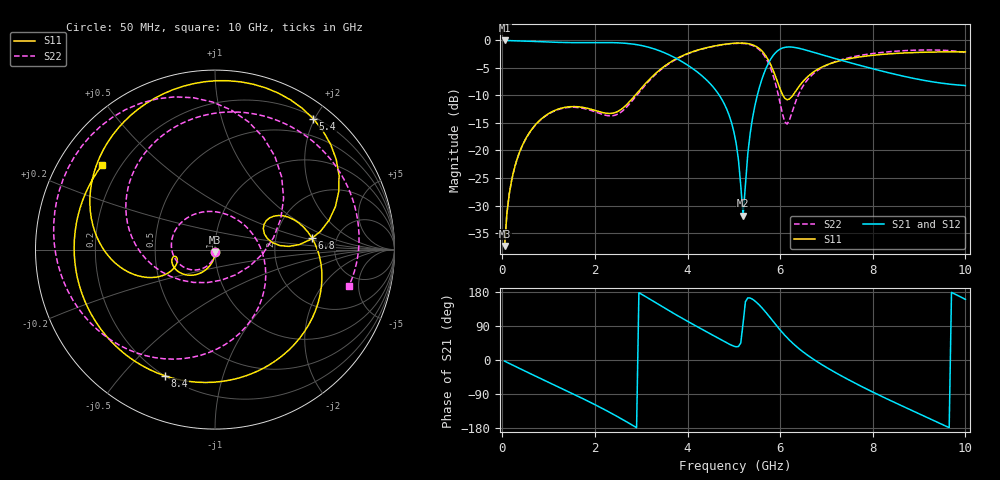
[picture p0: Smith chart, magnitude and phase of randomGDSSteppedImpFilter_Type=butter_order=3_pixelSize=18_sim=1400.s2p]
! freq	dB(S11)	phase(S11)	dB(S12)	phase(S12)
!  dB(S21)	phase(S21)	dB(S22)	phase(S22)
!S-par simulation data
#  GHz  S  DB  R 50
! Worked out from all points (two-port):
!   200 points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, 50 MHz to 10 GHz, reference 50 ohm
!   highest |S21| = -0.02 dB at 50 MHz (marker M1); lowest = -31.8 dB at 5.2 GHz (marker M2)
!   |S21| within 3 dB of the highest: start of sweep to 3.697 GHz; 5.826 GHz to 7.067 GHz (1.241 GHz wide, 19.2 % of centre)
!   lowest |S11| = -37.4 dB at 50 MHz (marker M3), VSWR 1.03, Z = 50.1 - j1.35 ohm
!   |S11| at or under -10 dB: start of sweep to 2.867 GHz; 6.062 GHz to 6.271 GHz (208.9 MHz wide, 3.39 % of centre)
!   |S22| runs from -37.4 to -0.5 dB; largest |S21 - S12| = 0
!   S11 on the Smith chart (normalised r, x): 50 MHz: 1.00, -0.03; 5.4 GHz: 0.23, +1.98; 6.8 GHz: 3.25, +0.62; 8.4 GHz: 0.20, -0.66; 10 GHz: 0.13, +0.33
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0.05  -37.36 -86.1  -0.02 -3.0  -0.02 -3.0  -37.38 -86.8
0.2  -25.47 -98.2  -0.05 -12.0  -0.05 -12.0  -25.52 -101.3
0.5  -17.96 -115.2  -0.13 -29.8  -0.13 -29.8  -18.02 -123.3
1.15  -12.66 -146.3  -0.35 -67.6  -0.35 -67.6  -12.75 -169.1
1.75  -12.18 -167.1  -0.42 -102.6  -0.42 -102.6  -12.35 141.7
2.7  -11.56 -154.5  -0.56 -164.2  -0.56 -164.2  -11.98 3.5
3.4  -5.36 -169.9  -1.91 144.7  -1.91 144.7  -5.50 -83.7
4.25  -1.69 141.3  -6.00 85.2  -6.00 85.2  -1.74 -153.4
4.75  -0.77 108.3  -10.85 51.7  -10.85 51.7  -0.81 170.5
5.05  -0.50 85.5  -18.71 34.8  -18.71 34.8  -0.55 146.7
5.2  -0.50 72.6  -31.83 97.8  -31.83 97.8  -0.56 132.9
5.4  -0.80 53.1  -14.29 160.6  -14.29 160.6  -0.92 111.1
5.75  -3.65 14.5  -4.09 117.1  -4.09 117.1  -4.19 57.3
6  -8.84 3.6  -1.59 79.2  -1.59 79.2  -11.44 -4.7
6.15  -10.79 18.0  -1.21 58.8  -1.21 58.8  -15.20 -78.2
6.7  -5.86 14.2  -2.11 3.5  -2.11 3.5  -6.19 167.1
6.8  -5.31 7.1  -2.36 -4.5  -2.36 -4.5  -5.51 158.8
7.45  -3.40 -42.4  -3.92 -50.3  -3.92 -50.3  -3.22 118.2
8.35  -2.45 -108.2  -5.90 -105.1  -5.90 -105.1  -2.06 72.7
8.4  -2.42 -111.6  -6.00 -108.0  -6.00 -108.0  -2.03 70.3
9.25  -2.13 -168.0  -7.48 -155.7  -7.48 -155.7  -1.74 28.0
10  -2.09 143.0  -8.20 159.9  -8.20 159.9  -2.23 -15.2
